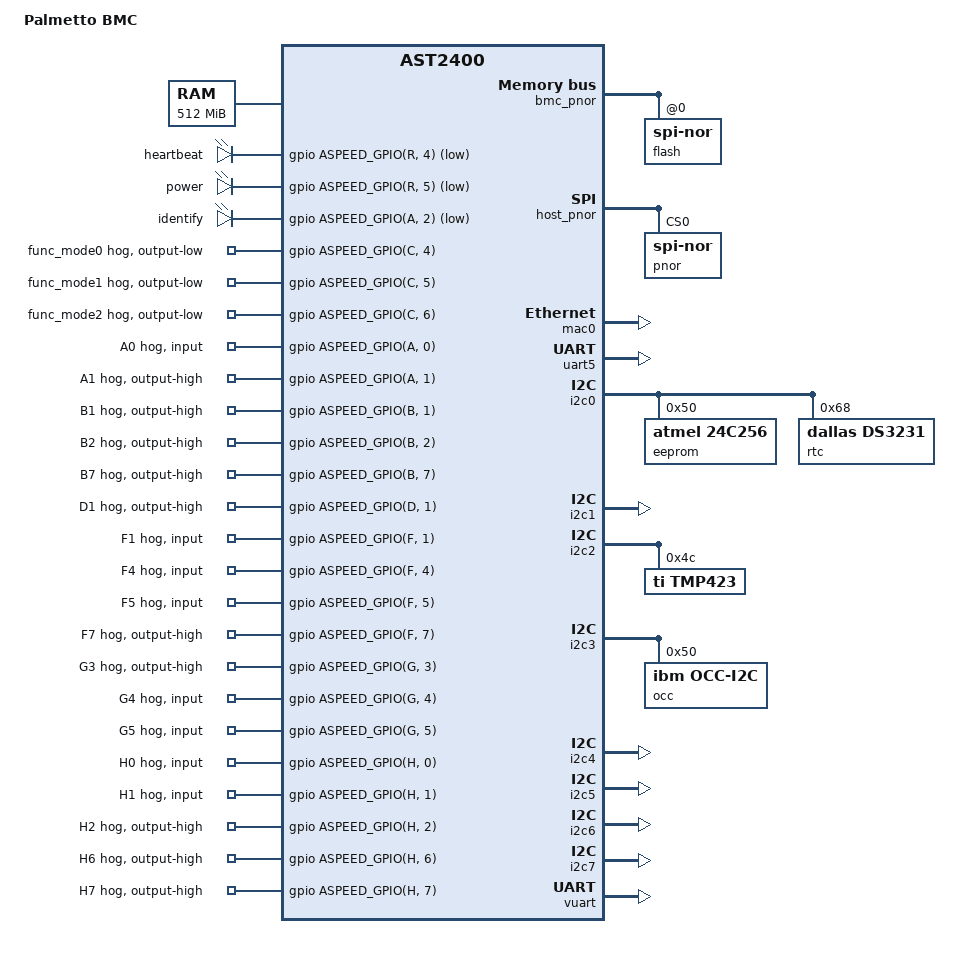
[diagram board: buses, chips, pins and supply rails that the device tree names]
/dts-v1/;

#include "aspeed-g4.dtsi"
#include <dt-bindings/gpio/aspeed-gpio.h>

/ {
	model = "Palmetto BMC";
	compatible = "tyan,palmetto-bmc", "aspeed,ast2400";

	aliases {
		serial4 = &uart5;
	};

	chosen {
		stdout-path = &uart5;
		bootargs = "console=ttyS4,115200 earlyprintk";
	};

	memory {
		reg = <0x40000000 0x20000000>;
	};

	reserved-memory {
		#address-cells = <1>;
		#size-cells = <1>;
		ranges;

		vga_memory: framebuffer@5f000000 {
			no-map;
			reg = <0x5f000000 0x01000000>; /* 16MB */
		};
	};

        leds {
                compatible = "gpio-leds";

                heartbeat {
                        gpios = <&gpio ASPEED_GPIO(R, 4) GPIO_ACTIVE_LOW>;
                };

                power {
                        gpios = <&gpio ASPEED_GPIO(R, 5) GPIO_ACTIVE_LOW>;
                };

                identify {
                        gpios = <&gpio ASPEED_GPIO(A, 2) GPIO_ACTIVE_LOW>;
                };
        };

	ahb {
		bmc_pnor: fmc@1e620000 {
			reg = < 0x1e620000 0x94
				0x20000000 0x02000000 >;
			#address-cells = <1>;
			#size-cells = <0>;
			compatible = "aspeed,ast2400-fmc";
			aspeed,fmc-has-dma;
			interrupts = <19>;
			flash@0 {
				reg = < 0 >;
				compatible = "jedec,spi-nor" ;
#include "aspeed-bmc-opp-flash-layout.dtsi"
			};
		};

		host_pnor: spi@1e630000 {
			reg = < 0x1e630000 0x18
				0x30000000 0x02000000 >;
			#address-cells = <1>;
			#size-cells = <0>;
			compatible = "aspeed,ast2400-smc";
			flash {
				reg = < 0 >;
				compatible = "jedec,spi-nor" ;
				label = "pnor";
			};
		};
	};

	fsi-master {
		compatible = "ibm,fsi-master", "ibm,fsi-master-gpio";

		status = "disabled";

		clock-gpios = <&gpio ASPEED_GPIO(A, 4) GPIO_ACTIVE_HIGH>;
		data-gpios = <&gpio ASPEED_GPIO(A, 5) GPIO_ACTIVE_HIGH>;
		mux-gpios = <&gpio ASPEED_GPIO(A, 6) GPIO_ACTIVE_HIGH>;
		enable-gpios = <&gpio ASPEED_GPIO(D, 0) GPIO_ACTIVE_HIGH>;
		trans-gpios = <&gpio ASPEED_GPIO(H, 6) GPIO_ACTIVE_HIGH>;
	};
};

&pinctrl {
	pinctrl-names = "default";
	pinctrl-0 = <&pinctrl_flbusy_default &pinctrl_flwp_default

			&pinctrl_vgahs_default &pinctrl_vgavs_default
			&pinctrl_ddcclk_default &pinctrl_ddcdat_default>;
};

&mac0 {
	status = "okay";

	use-ncsi;
	no-hw-checksum;
};


&uart5 {
	status = "okay";
};

&i2c0 {
	status = "okay";

	eeprom@50 {
		compatible = "atmel,24c256";
		reg = <0x50>;
		pagesize = <64>;
	};

	rtc@68 {
		compatible = "dallas,ds3231";
		reg = <0x68>;
		// interrupts = <GPIOF0>
	};
};

&i2c1 {
	status = "okay";
};

&i2c2 {
	status = "okay";

	tmp423@4c {
		compatible = "ti,tmp423";
		reg = <0x4c>;
	};
};

&i2c3 {
	status = "okay";

	occ@50 {
		compatible = "ibm,occ-i2c";
		reg = <0x50>;
	};

	pin_gpio_a0 {
		gpio-hog;
		gpios = <ASPEED_GPIO(A, 0) GPIO_ACTIVE_HIGH>;
		input;
		line-name = "A0";
	};

	pin_gpio_a1 {
		gpio-hog;
		gpios = <ASPEED_GPIO(A, 1) GPIO_ACTIVE_HIGH>;
		output-high;
		line-name = "A1";
	};

	pin_gpio_b1 {
		gpio-hog;
		gpios = <ASPEED_GPIO(B, 1) GPIO_ACTIVE_HIGH>;
		output-high;
		line-name = "B1";
	};

	pin_gpio_b2 {
		gpio-hog;
		gpios = <ASPEED_GPIO(B, 2) GPIO_ACTIVE_HIGH>;
		output-high;
		line-name = "B2";
	};

	pin_gpio_b7 {
		gpio-hog;
		gpios = <ASPEED_GPIO(B, 7) GPIO_ACTIVE_HIGH>;
		output-high;
		line-name = "B7";
	};

	pin_gpio_d1 {
		gpio-hog;
		gpios = <ASPEED_GPIO(D, 1) GPIO_ACTIVE_HIGH>;
		output-high;
		line-name = "D1";
	};

	pin_gpio_f1 {
		gpio-hog;
		gpios = <ASPEED_GPIO(F, 1) GPIO_ACTIVE_HIGH>;
		input;
		line-name = "F1";
	};

	pin_gpio_f4 {
		gpio-hog;
		gpios = <ASPEED_GPIO(F, 4) GPIO_ACTIVE_HIGH>;
		input;
		line-name = "F4";
	};

	pin_gpio_f5 {
		gpio-hog;
		gpios = <ASPEED_GPIO(F, 5) GPIO_ACTIVE_HIGH>;
		input;
		line-name = "F5";
	};

	pin_gpio_f7 {
		gpio-hog;
		gpios = <ASPEED_GPIO(F, 7) GPIO_ACTIVE_HIGH>;
		output-high;
		line-name = "F7";
	};

	pin_gpio_g3 {
		gpio-hog;
		gpios = <ASPEED_GPIO(G, 3) GPIO_ACTIVE_HIGH>;
		output-high;
		line-name = "G3";
	};

	pin_gpio_g4 {
		gpio-hog;
		gpios = <ASPEED_GPIO(G, 4) GPIO_ACTIVE_HIGH>;
		input;
		line-name = "G4";
	};

	pin_gpio_g5 {
		gpio-hog;
		gpios = <ASPEED_GPIO(G, 5) GPIO_ACTIVE_HIGH>;
		input;
		line-name = "G5";
	};

	pin_gpio_h0 {
		gpio-hog;
		gpios = <ASPEED_GPIO(H, 0) GPIO_ACTIVE_HIGH>;
		input;
		line-name = "H0";
	};

	pin_gpio_h1 {
		gpio-hog;
		gpios = <ASPEED_GPIO(H, 1) GPIO_ACTIVE_HIGH>;
		input;
		line-name = "H1";
	};

	pin_gpio_h2 {
		gpio-hog;
		gpios = <ASPEED_GPIO(H, 2) GPIO_ACTIVE_HIGH>;
		output-high;
		line-name = "H2";
	};

	pin_gpio_h6 {
		gpio-hog;
		gpios = <ASPEED_GPIO(H, 6) GPIO_ACTIVE_HIGH>;
		output-high;
		line-name = "H6";
	};

	pin_gpio_h7 {
		gpio-hog;
		gpios = <ASPEED_GPIO(H, 7) GPIO_ACTIVE_HIGH>;
		output-high;
		line-name = "H7";
	};

};

&i2c4 {
	status = "okay";
};

&i2c5 {
	status = "okay";
};

&i2c6 {
	status = "okay";
};

&i2c7 {
	status = "okay";
};

&gpio {
	pin_func_mode0 {
		gpio-hog;
		gpios = <ASPEED_GPIO(C, 4) GPIO_ACTIVE_HIGH>;
		output-low;
		line-name = "func_mode0";
	};

	pin_func_mode1 {
		gpio-hog;
		gpios = <ASPEED_GPIO(C, 5)  GPIO_ACTIVE_HIGH>;
		output-low;
		line-name = "func_mode1";
	};

	pin_func_mode2 {
		gpio-hog;
		gpios = <ASPEED_GPIO(C, 6) GPIO_ACTIVE_HIGH>;
		output-low;
		line-name = "func_mode2";
	};

	pin_gpio_a0 {
		gpio-hog;
		gpios = <ASPEED_GPIO(A, 0) GPIO_ACTIVE_HIGH>;
		input;
		line-name = "A0";
	};

	pin_gpio_a1 {
		gpio-hog;
		gpios = <ASPEED_GPIO(A, 1) GPIO_ACTIVE_HIGH>;
		output-high;
		line-name = "A1";
	};

	pin_gpio_b1 {
		gpio-hog;
		gpios = <ASPEED_GPIO(B, 1) GPIO_ACTIVE_HIGH>;
		output-high;
		line-name = "B1";
	};

	pin_gpio_b2 {
		gpio-hog;
		gpios = <ASPEED_GPIO(B, 2) GPIO_ACTIVE_HIGH>;
		output-high;
		line-name = "B2";
	};

	pin_gpio_b7 {
		gpio-hog;
		gpios = <ASPEED_GPIO(B, 7) GPIO_ACTIVE_HIGH>;
		output-high;
		line-name = "B7";
	};

	pin_gpio_d1 {
		gpio-hog;
		gpios = <ASPEED_GPIO(D, 1) GPIO_ACTIVE_HIGH>;
		output-high;
		line-name = "D1";
	};

	pin_gpio_f1 {
		gpio-hog;
		gpios = <ASPEED_GPIO(F, 1) GPIO_ACTIVE_HIGH>;
		input;
		line-name = "F1";
	};

	pin_gpio_f4 {
		gpio-hog;
		gpios = <ASPEED_GPIO(F, 4) GPIO_ACTIVE_HIGH>;
		input;
		line-name = "F4";
	};

	pin_gpio_f5 {
		gpio-hog;
		gpios = <ASPEED_GPIO(F, 5) GPIO_ACTIVE_HIGH>;
		input;
		line-name = "F5";
	};

	pin_gpio_f7 {
		gpio-hog;
		gpios = <ASPEED_GPIO(F, 7) GPIO_ACTIVE_HIGH>;
		output-high;
		line-name = "F7";
	};

	pin_gpio_g3 {
		gpio-hog;
		gpios = <ASPEED_GPIO(G, 3) GPIO_ACTIVE_HIGH>;
		output-high;
		line-name = "G3";
	};

	pin_gpio_g4 {
		gpio-hog;
		gpios = <ASPEED_GPIO(G, 4) GPIO_ACTIVE_HIGH>;
		input;
		line-name = "G4";
	};

	pin_gpio_g5 {
		gpio-hog;
		gpios = <ASPEED_GPIO(G, 5) GPIO_ACTIVE_HIGH>;
		input;
		line-name = "G5";
	};

	pin_gpio_h0 {
		gpio-hog;
		gpios = <ASPEED_GPIO(H, 0) GPIO_ACTIVE_HIGH>;
		input;
		line-name = "H0";
	};

	pin_gpio_h1 {
		gpio-hog;
		gpios = <ASPEED_GPIO(H, 1) GPIO_ACTIVE_HIGH>;
		input;
		line-name = "H1";
	};

	pin_gpio_h2 {
		gpio-hog;
		gpios = <ASPEED_GPIO(H, 2) GPIO_ACTIVE_HIGH>;
		output-high;
		line-name = "H2";
	};

	pin_gpio_h6 {
		gpio-hog;
		gpios = <ASPEED_GPIO(H, 6) GPIO_ACTIVE_HIGH>;
		output-high;
		line-name = "H6";
	};

	pin_gpio_h7 {
		gpio-hog;
		gpios = <ASPEED_GPIO(H, 7) GPIO_ACTIVE_HIGH>;
		output-high;
		line-name = "H7";
	};

};

&vuart {
	status = "okay";
};
